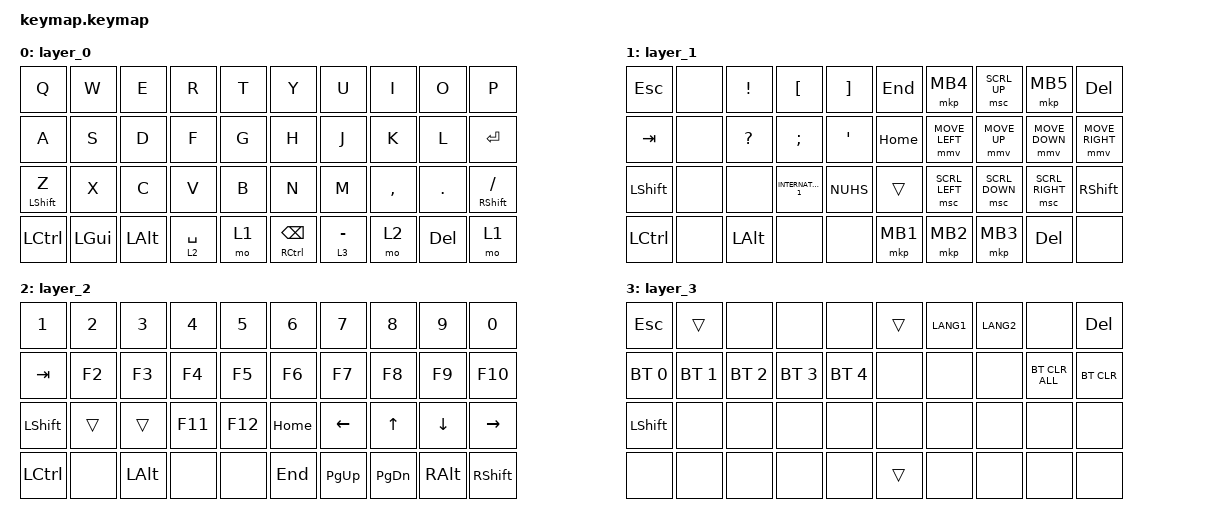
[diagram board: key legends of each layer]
#include <behaviors.dtsi>
#include <dt-bindings/zmk/bt.h>
#include <dt-bindings/zmk/keys.h>
#include <dt-bindings/zmk/pointing.h>

&lt {
    tapping-term-ms = <150>;
    quick-tap-ms = <0>;
    flavor = "tap-preferred";
};

&mt {
    tapping-term-ms = <200>;
    quick-tap-ms = <0>;
    flavor = "tap-preferred";
};

/* マウス移動の速度設定 */

&mmv {
    time-to-max-speed-ms = <80>;     /* 最大速に達するまでの時間（小さいほど速くなる） */
    acceleration-exponent = <3>;     /* 加速の伸び、大きくすると最高速が上がる */
    trigger-period-ms = <4>;   /* 小さくすると動きが滑らかに */
};

/* スクロールの速度設定 */

&msc { time-to-max-speed-ms = <400>; };

/ {
    keymap {
        compatible = "zmk,keymap";

        layer_0 {
            bindings = <
&kp Q        &kp W         &kp E         &kp R        &kp T  &kp Y                &kp U        &kp I      &kp O    &kp P
&kp A        &kp S         &kp D         &kp F        &kp G  &kp H                &kp J        &kp K      &kp L    &kp ENTER
&mt LSHFT Z  &kp X         &kp C         &kp V        &kp B  &kp N                &kp M        &kp COMMA  &kp DOT  &mt RSHIFT SLASH
&kp LCTRL    &kp LEFT_GUI  &kp LEFT_ALT  &lt 2 SPACE  &mo 1  &mt RCTRL BACKSPACE  &lt 3 MINUS  &mo 2      &kp DEL  &mo 1
            >;
        };

        layer_1 {
            bindings = <
&kp ESC         &none  &kp EXCLAMATION  &kp LBKT             &kp RBKT          &kp END   &mkp MB4        &msc SCRL_UP    &mkp MB5         &kp DELETE
&kp TAB         &none  &kp QUESTION     &kp SEMICOLON        &kp SINGLE_QUOTE  &kp HOME  &mmv MOVE_LEFT  &mmv MOVE_UP    &mmv MOVE_DOWN   &mmv MOVE_RIGHT
&kp LEFT_SHIFT  &none  &none            &kp INTERNATIONAL_1  &kp NUHS          &trans    &msc SCRL_LEFT  &msc SCRL_DOWN  &msc SCRL_RIGHT  &kp RIGHT_SHIFT
&kp LCTRL       &none  &kp LEFT_ALT     &none                &none             &mkp MB1  &mkp MB2        &mkp MB3        &kp DEL          &none
            >;
        };

        layer_2 {
            bindings = <
&kp NUMBER_1    &kp NUMBER_2  &kp NUMBER_3  &kp NUMBER_4  &kp NUMBER_5  &kp NUMBER_6  &kp NUMBER_7    &kp NUMBER_8   &kp NUMBER_9    &kp NUMBER_0
&kp TAB         &kp F2        &kp F3        &kp F4        &kp F5        &kp F6        &kp F7          &kp F8         &kp F9          &kp F10
&kp LEFT_SHIFT  &trans        &trans        &kp F11       &kp F12       &kp HOME      &kp LEFT_ARROW  &kp UP_ARROW   &kp DOWN_ARROW  &kp RIGHT
&kp LCTRL       &none         &kp LEFT_ALT  &none         &none         &kp END       &kp PAGE_UP     &kp PAGE_DOWN  &kp RIGHT_ALT   &kp RIGHT_SHIFT
            >;
        };

        layer_3 {
            bindings = <
&kp ESCAPE      &trans        &none         &none         &none         &trans  &kp LANG1  &kp LANG2  &none           &kp DELETE
&bt BT_SEL 0    &bt BT_SEL 1  &bt BT_SEL 2  &bt BT_SEL 3  &bt BT_SEL 4  &none   &none      &none      &bt BT_CLR_ALL  &bt BT_CLR
&kp LEFT_SHIFT  &none         &none         &none         &none         &none   &none      &none      &none           &none
&none           &none         &none         &none         &none         &trans  &none      &none      &none           &none
            >;
        };
    };
};
